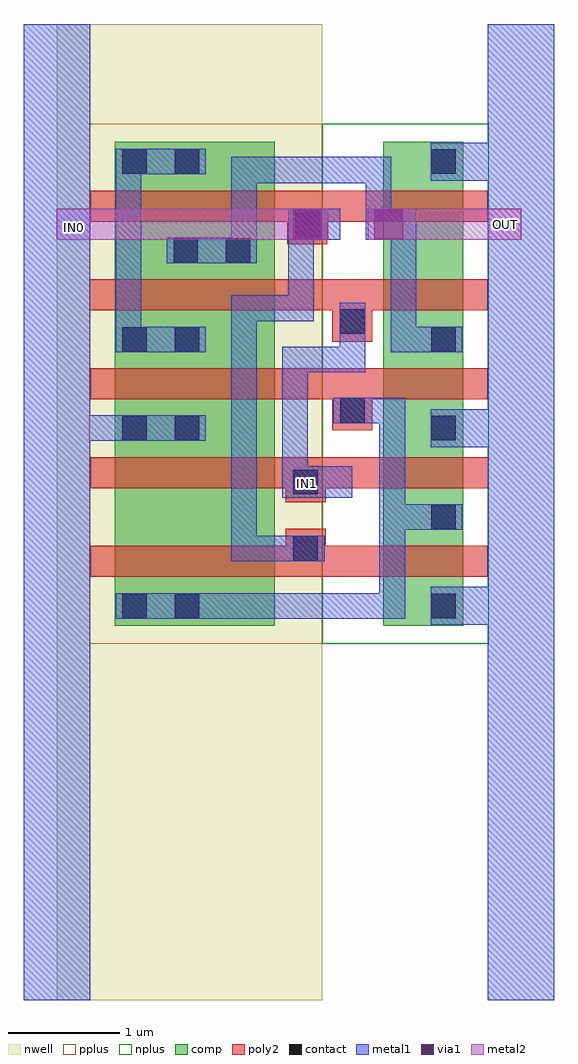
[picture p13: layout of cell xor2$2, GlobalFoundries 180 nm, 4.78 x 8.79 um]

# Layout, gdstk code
import gdstk
lib = gdstk.Library(unit=1e-6, precision=5e-09)
def R(c, l, rs):  # rectangles x0, y0, x1, y1
    for r in rs: c.add(gdstk.rectangle(r[:2], r[2:], *l))
def A(c, l, x, y, w, h, nx, ny, dx, dy):  # array of equal rectangles
    R(c, l, [(x+i*dx, y+j*dy, x+i*dx+w, y+j*dy+h) for i in range(nx) for j in range(ny)])
nwell = (21, 0)
comp = (22, 0)
poly2 = (30, 0)
pplus = (31, 0)
nplus = (32, 0)
contact = (33, 0)
metal1 = (34, 0)
via1 = (35, 0)
metal2 = (36, 0)

xor2_2 = lib.new_cell('xor2$2')
R(xor2_2, nwell, [(-0.7,-16.51,1.69,-7.72)])
R(xor2_2, comp, [(-0.18,-13.14,1.26,-8.78), (2.24,-13.14,2.96,-8.78)])
A(xor2_2, poly2, -0.4, -12.7, 3.58, 0.28, 1, 3, 0, 1.6)
R(xor2_2, poly2, [(1.36,-12.625,1.72,-12.265), (1.36,-12.025,1.72,-11.665), (-0.4,-11.9,3.185,-11.62), (1.78,-11.38,2.14,-11.02), (1.78,-10.58,2.14,-10.22), (-0.405,-10.3,3.18,-10.02), (1.375,-9.705,1.735,-9.345)])
R(xor2_2, pplus, [(-0.41,-13.3,1.69,-8.62)])
R(xor2_2, nplus, [(1.69,-13.3,3.19,-8.62)])
A(xor2_2, contact, 2.67, -13.07, 0.22, 0.22, 1, 4, 0, 0.8)
R(xor2_2, contact, [(-0.11,-13.07,0.11,-12.85), (0.36,-13.07,0.58,-12.85), (1.43,-12.555,1.65,-12.335), (1.43,-11.955,1.65,-11.735), (-0.11,-11.47,0.11,-11.25), (0.36,-11.47,0.58,-11.25), (1.85,-11.31,2.07,-11.09), (-0.11,-10.67,0.11,-10.45), (0.36,-10.67,0.58,-10.45), (1.85,-10.51,2.07,-10.29), (0.35,-9.87,0.57,-9.65), (0.82,-9.87,1.04,-9.65), (1.445,-9.635,1.665,-9.415), (-0.11,-9.07,0.11,-8.85), (0.36,-9.07,0.58,-8.85), (2.67,-9.07,2.89,-8.85)])
R(xor2_2, metal1, [(-1,-16.51,-0.4,-7.72), (3.18,-16.51,3.78,-7.72), (2.665,-13.13,3.18,-12.79), (-0.17,-13.075,2.435,-12.845), (2.205,-12.845,2.435,-11.085), (0.87,-12.56,1.71,-12.33), (0.87,-12.33,1.1,-10.165), (2.435,-12.275,2.95,-12.045), (1.33,-11.985,1.96,-11.705), (1.33,-11.73,1.56,-10.625), (2.665,-11.53,3.18,-11.19), (-0.4,-11.475,0.64,-11.245), (1.79,-11.315,2.205,-11.085), (1.56,-10.855,2.075,-10.625), (-0.17,-10.675,0.64,-10.445), (2.305,-10.675,2.95,-10.445), (1.845,-10.625,2.075,-10.23), (-0.17,-10.445,0.06,-9.075), (2.305,-10.445,2.535,-9.665), (1.1,-10.395,1.615,-10.165), (1.385,-10.165,1.615,-9.665), (0.29,-9.875,1.1,-9.645), (1.385,-9.665,1.85,-9.385), (2.08,-9.665,2.535,-9.385), (0.87,-9.645,1.1,-8.915), (2.08,-9.385,2.31,-8.915), (1.1,-9.155,2.08,-8.915), (2.665,-9.13,3.18,-8.79), (-0.17,-9.075,0.64,-8.845)])
R(xor2_2, via1, [(1.425,-9.655,1.685,-9.395), (2.16,-9.655,2.42,-9.395)])
R(xor2_2, metal2, [(-0.7,-9.665,1.745,-9.385), (2.1,-9.665,3.48,-9.385)])
xor2_2.add(gdstk.Label('IN1', (1.56,-11.86), layer=34, texttype=10))
xor2_2.add(gdstk.Label('VDD', (-0.84,-18.84), layer=34, texttype=10))
xor2_2.add(gdstk.Label('VSS', (3.48,-18.84), layer=34, texttype=10))
xor2_2.add(gdstk.Label('IN0', (-0.545,-9.55), layer=36, texttype=10))
xor2_2.add(gdstk.Label('OUT', (3.34,-9.53), layer=36, texttype=10))

lib.write_gds('xor2_2.gds')
